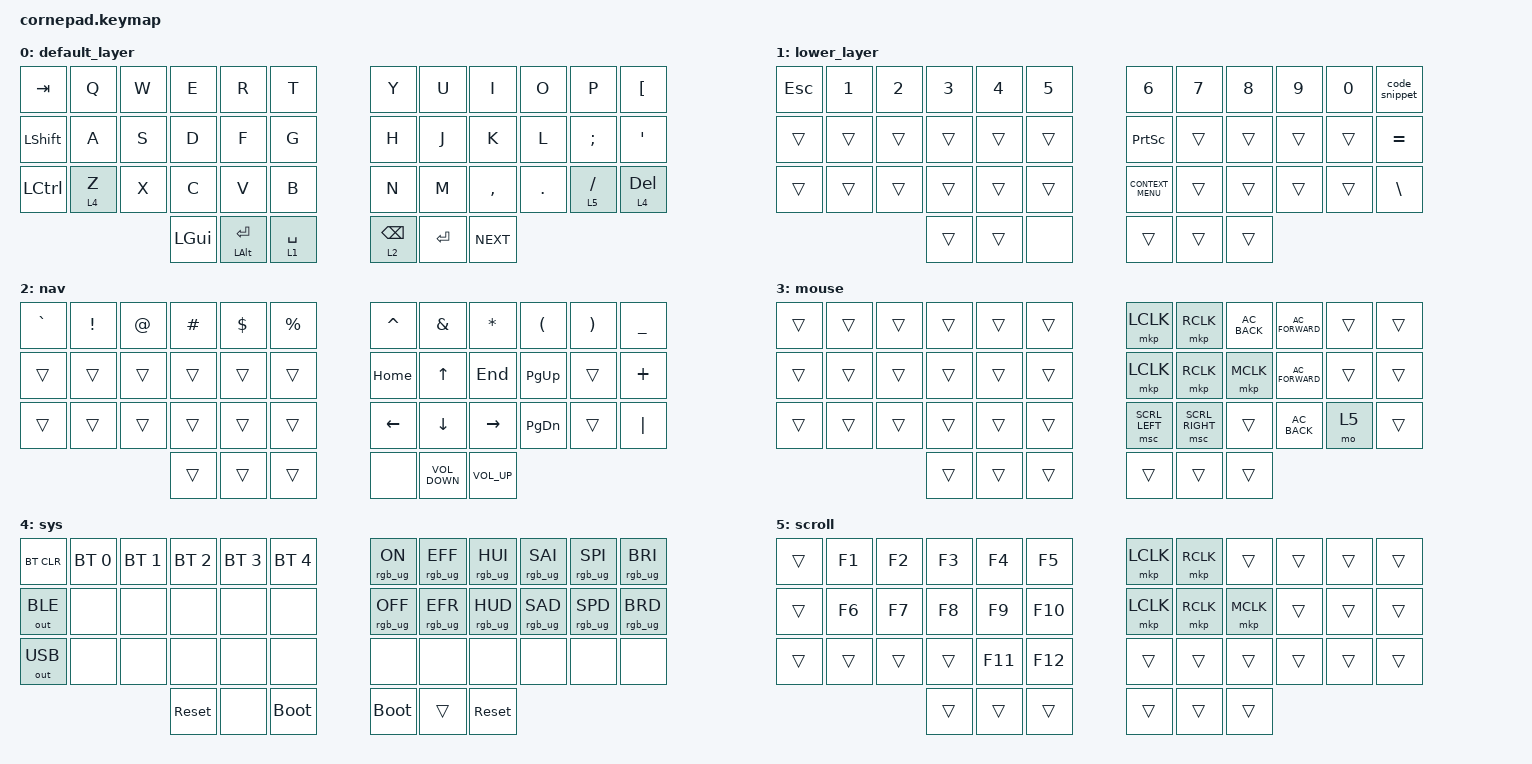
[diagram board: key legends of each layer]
/*
 * Copyright (c) 2020 The ZMK Contributors
 *
 * SPDX-License-Identifier: MIT
 */

#include <behaviors.dtsi>
#include <dt-bindings/zmk/bt.h>
#include <dt-bindings/zmk/keys.h>
#include <dt-bindings/zmk/outputs.h>
#include <dt-bindings/zmk/pointing.h>
#include <dt-bindings/zmk/rgb.h>

/ {
    combos {
        compatible = "zmk,combos";

        play_pause {
            bindings = <&kp C_PLAY_PAUSE>;
            key-positions = <39 40>;
            layers = <0>;
        };

        play_prev {
            bindings = <&kp C_PREV>;
            key-positions = <39 41>;
            layers = <0>;
        };

        minus {
            bindings = <&kp MINUS>;
            key-positions = <23 35>;
            layers = <0>;
        };

        equal {
            bindings = <&kp EQUAL>;
            key-positions = <34 35>;
            layers = <0>;
        };

        bracket {
            bindings = <&kp RIGHT_BRACKET>;
            key-positions = <10 11>;
            layers = <0>;
        };

        backslash {
            bindings = <&kp BACKSLASH>;
            key-positions = <23 22>;
            layers = <0>;
        };
    };

    macros {
        code_snippet: code_snippet {
            compatible = "zmk,behavior-macro";
            #binding-cells = <0>;
            bindings =
                <&kp GRAVE &kp GRAVE &kp GRAVE>,
                <&macro_press>,
                <&kp LSHFT>,
                <&macro_tap>,
                <&kp RET &kp RET>,
                <&macro_release>,
                <&kp LSHFT>,
                <&macro_tap>,
                <&kp GRAVE &kp GRAVE &kp GRAVE &kp UP_ARROW>;

            label = "CODE_SNIPPET";
        };
    };

    keymap {
        compatible = "zmk,keymap";

        default_layer {
            // -----------------------------------------------------------------------------------------
            // |  TAB |  Q  |  W  |  E  |  R  |  T  |   |  Y  |  U   |  I  |  O  |  P  | BSPC |
            // | CTRL |  A  |  S  |  D  |  F  |  G  |   |  H  |  J   |  K  |  L  |  ;  |  '   |
            // | SHFT |  Z  |  X  |  C  |  V  |  B  |   |  N  |  M   |  ,  |  .  |  /  | ESC  |
            //                    | GUI | LWR | SPC |   | ENT | RSE  | ALT |

            bindings = <
&kp TAB           &kp Q    &kp W  &kp E     &kp R               &kp T          &kp Y            &kp U      &kp I       &kp O    &kp P       &kp LBKT
&kp LEFT_SHIFT    &kp A    &kp S  &kp D     &kp F               &kp G          &kp H            &kp J      &kp K       &kp L    &kp SEMI    &kp SQT
&kp LEFT_CONTROL  &lt 4 Z  &kp X  &kp C     &kp V               &kp B          &kp N            &kp M      &kp COMMA   &kp DOT  &lt 5 FSLH  &lt 4 DELETE
                                  &kp LGUI  &mt LEFT_ALT ENTER  &lt 1 SPACE    &lt 2 BACKSPACE  &kp ENTER  &kp C_NEXT
            >;
        };

        lower_layer {
            // -----------------------------------------------------------------------------------------
            // |  TAB |  1  |  2  |  3  |  4  |  5  |   |  6  |  7  |  8  |  9  |  0  | BSPC |
            // | BTCLR| BT1 | BT2 | BT3 | BT4 | BT5 |   | LFT | DWN |  UP | RGT |     |      |
            // | SHFT |     |     |     |     |     |   |     |     |     |     |     |      |
            //                    | GUI |     | SPC |   | ENT |     | ALT |

            bindings = <
&kp ESC  &kp N1  &kp N2  &kp N3  &kp N4  &kp N5    &kp N6              &kp N7  &kp N8  &kp N9  &kp N0  &code_snippet
&trans   &trans  &trans  &trans  &trans  &trans    &kp PRINTSCREEN     &trans  &trans  &trans  &trans  &kp EQUAL
&trans   &trans  &trans  &trans  &trans  &trans    &kp K_CONTEXT_MENU  &trans  &trans  &trans  &trans  &kp BACKSLASH
                         &trans  &trans  &none     &trans              &trans  &trans
            >;
        };

        nav_layer {
            // -----------------------------------------------------------------------------------------
            // |  TAB |  !  |  @  |  #  |  $  |  %  |   |  ^  |  &  |  *  |  (  |  )  | BSPC |
            // | CTRL |     |     |     |     |     |   |  -  |  =  |  [  |  ]  |  \  |  `   |
            // | SHFT |     |     |     |     |     |   |  _  |  +  |  {  |  }  | "|" |  ~   |
            //                    | GUI |     | SPC |   | ENT |     | ALT |

            bindings = <
&kp GRAVE  &kp EXCL  &kp AT  &kp HASH  &kp DLLR  &kp PRCNT    &kp CARET  &kp AMPS           &kp ASTRK        &kp LPAR       &kp RPAR  &kp UNDER
&trans     &trans    &trans  &trans    &trans    &trans       &kp HOME   &kp UP             &kp END          &kp PG_UP      &trans    &kp PLUS
&trans     &trans    &trans  &trans    &trans    &trans       &kp LEFT   &kp DOWN           &kp RIGHT        &kp PAGE_DOWN  &trans    &kp PIPE
                             &trans    &trans    &trans       &none      &kp C_VOLUME_DOWN  &kp C_VOLUME_UP
            >;

            label = "nav";
        };

        mouse_layer {
            bindings = <
&trans  &trans  &trans  &trans  &trans  &trans    &mkp LCLK       &mkp RCLK        &kp C_AC_BACK  &kp C_AC_FORWARD  &trans  &trans
&trans  &trans  &trans  &trans  &trans  &trans    &mkp LCLK       &mkp RCLK        &mkp MCLK      &kp C_AC_FORWARD  &trans  &trans
&trans  &trans  &trans  &trans  &trans  &trans    &msc SCRL_LEFT  &msc SCRL_RIGHT  &trans         &kp C_AC_BACK     &mo 5   &trans
                        &trans  &trans  &trans    &trans          &trans           &trans
            >;

            label = "mouse";
        };

        sys_layer {
            bindings = <
&bt BT_CLR    &bt BT_SEL 0  &bt BT_SEL 1  &bt BT_SEL 2  &bt BT_SEL 3  &bt BT_SEL 4    &rgb_ug RGB_ON   &rgb_ug RGB_EFF  &rgb_ug RGB_HUI  &rgb_ug RGB_SAI  &rgb_ug RGB_SPI  &rgb_ug RGB_BRI
&out OUT_BLE  &none         &none         &none         &none         &none           &rgb_ug RGB_OFF  &rgb_ug RGB_EFR  &rgb_ug RGB_HUD  &rgb_ug RGB_SAD  &rgb_ug RGB_SPD  &rgb_ug RGB_BRD
&out OUT_USB  &none         &none         &none         &none         &none           &none            &none            &none            &none            &none            &none
                                          &sys_reset    &none         &bootloader     &bootloader      &trans           &sys_reset
            >;

            label = "sys";
        };

        scroll_layer {
            bindings = <
&trans  &kp F1  &kp F2  &kp F3  &kp F4   &kp F5     &mkp LCLK  &mkp RCLK  &trans     &trans  &trans  &trans
&trans  &kp F6  &kp F7  &kp F8  &kp F9   &kp F10    &mkp LCLK  &mkp RCLK  &mkp MCLK  &trans  &trans  &trans
&trans  &trans  &trans  &trans  &kp F11  &kp F12    &trans     &trans     &trans     &trans  &trans  &trans
                        &trans  &trans   &trans     &trans     &trans     &trans
            >;

            label = "scroll";
        };
    };
};
